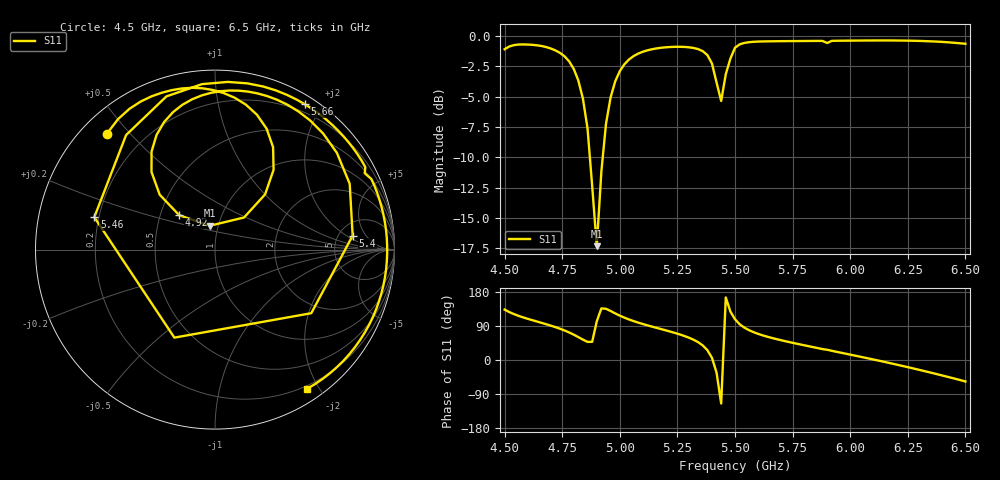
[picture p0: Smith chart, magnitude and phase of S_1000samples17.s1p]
! TOUCHSTONE file generated by CST MICROWAVE STUDIO
! Date and time: Wed Oct 26 17:16:14 2022
! Project name: L.cst
! Parameters = {Di=1.27; Epsilon_r=1.56; InnerDiameter=1.27; Length=2; Lf=10; Lg=60; OuterConductorThickness=0.2921; OuterDiameter=3.6; Wf=3; Wp=41.2; de=1.5; df=6.8; g=0.8; gx=0.425121; gy=2.59368; h=2.34; hf=1.524; px=14.3628; py=11.6459; w=9.7; wx=13.9377; wy=9.05223}
! Header version: 2018
! Port assignment regex: !\s*Touchstone port\s*([0-9]+)\s*=\s*(CST MWS port|CST DS port)\s*([0-9]+|Zmin|Zmax)\s*\(\"(.*)\"\)(\s*mode\s*([0-9]+))?.*
! Touchstone port assignment:
! Touchstone port 1 = CST MWS port 1 ("")
# GHz S DB R 50
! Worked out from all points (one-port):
!   101 points, 4.5 GHz to 6.5 GHz, reference 50 ohm
!   lowest |S11| = -17.3 dB at 4.9 GHz (marker M1), VSWR 1.31, Z = 45.6 + j12.4 ohm
!   |S11| at or under -10 dB: 4.87 GHz to 4.926 GHz (55.91 MHz wide, 1.14 % of centre)
!   S11 on the Smith chart (normalised r, x): 4.5 GHz: 0.07, +0.43; 4.92 GHz: 0.63, +0.26; 5.4 GHz: 6.71, +2.59; 5.46 GHz: 0.18, +0.13; 5.66 GHz: 0.10, +1.79; 6.5 GHz: 0.16, -1.85
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4.5  -1.08 133.0
4.56  -0.70 116.6
4.62  -0.72 105.1
4.76  -1.66 78.0
4.84  -5.17 53.7
4.86  -7.63 47.8
4.9  -17.33 102.1
4.92  -11.17 136.1
4.96  -5.06 129.3
5  -2.89 117.0
5.1  -1.29 94.9
5.26  -0.88 67.5
5.32  -0.98 53.6
5.36  -1.24 38.4
5.38  -1.56 26.1
5.4  -2.26 5.8
5.42  -3.84 -33.4
5.44  -5.35 -114.8
5.46  -3.14 165.0
5.48  -1.85 127.8
5.5  -0.96 107.6
5.52  -0.68 94.5
5.56  -0.50 79.0
5.66  -0.43 58.2
5.76  -0.41 44.0
6  -0.37 14.2
6.26  -0.38 -20.3
6.5  -0.63 -56.6
